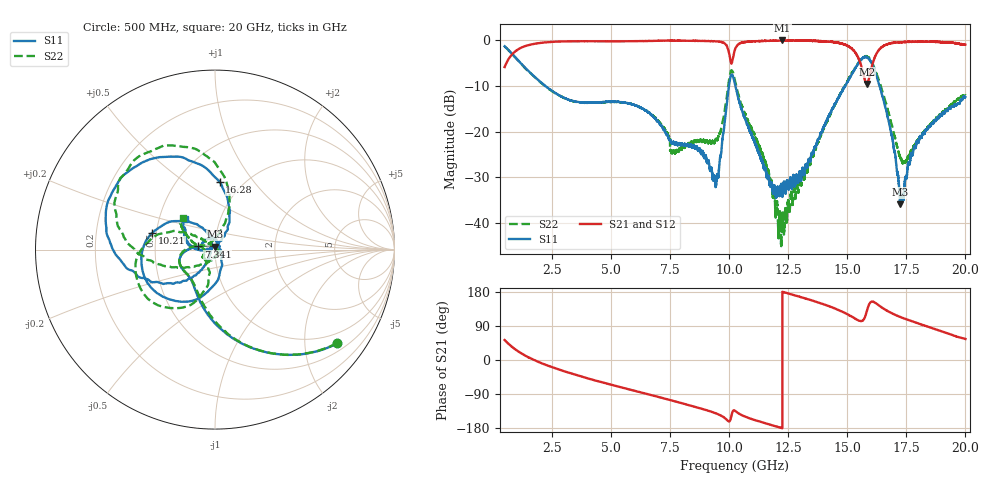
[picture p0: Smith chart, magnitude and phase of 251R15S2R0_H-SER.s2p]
!{251R15S2R0}
!Johanson Technology Inc.
!www.johansontechnology.com
!Test Board Conditions:
!Substrate Type  RO4350B
!Substrate Thickness  20 mil
!Substrate Dk  3.66
!TL Type: GCPW
!TL Trace Width  34 mil
!TL Gap  10 mil
!Electrode orientation  Horizontal
!DUT TOPOLOGY	SERIES
!Mounting Pad LxW  26x52 mil
! Created Thu Mar 12 16:37:39 2020
# mhz S ma R 50
! 2 Port Network Data from SP1.SP block
! freq  magS11  angS11  magS21  angS21  magS12  angS12  magS22  angS22
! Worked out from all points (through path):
!   19501 points, 500 MHz to 20 GHz, reference 50 ohm
!   highest |S21| = -0.05 dB at 12.25 GHz (marker M1); lowest = -9.6 dB at 15.83 GHz (marker M2)
!   group delay of S21, straight-line fit = 45 ps
!   lowest |S11| = -35.9 dB at 17.25 GHz (marker M3), VSWR 1.03, Z = 49.9 + j1.6 ohm
!   |S11| at or under -10 dB: 2.228 GHz to 9.994 GHz (7.765 GHz wide, 127 % of centre); 10.26 GHz to 14.92 GHz (4.654 GHz wide, 37 % of centre); 16.36 GHz to end of sweep (the widest 3 of 5)
!   |S22| runs from -45.0 to -1.3 dB; largest |S21 - S12| = 0.017
!   S11 on the Smith chart (normalised r, x): 500 MHz: 0.70, -2.79; 7.341 GHz: 0.83, +0.03; 10.21 GHz: 0.47, +0.10; 16.28 GHz: 0.79, +0.69; 20 GHz: 0.68, +0.25
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500  0.8589 -37.5  0.509 52.7  0.5106 52.7  0.8566 -37.6
1714  0.4107 -90.1  0.9086 1.0  0.9094 1.0  0.4085 -88.8
3750  0.2087 -132.9  0.9745 -43.7  0.9755 -43.7  0.2078 -132.8
7000  0.1292 175.1  0.9875 -97.4  0.9878 -97.4  0.1321 173.2
7341  0.09382 169.2  0.9905 -102.9  0.9922 -103.0  0.0992 168.3
7640  0.07724 143.6  0.9896 -107.9  0.9888 -108.0  0.06122 -175.6
8694  0.06207 95.1  0.9822 -126.0  0.9822 -126.0  0.08005 -146.9
9464  0.02986 0.1  0.9698 -141.2  0.9715 -141.4  0.08251 -123.0
9999  0.3231 -116.6  0.7216 -162.2  0.7235 -162.0  0.3683 -118.7
10213  0.362 165.2  0.7334 -133.0  0.7342 -133.0  0.3983 177.7
10250  0.326 156.3  0.793 -134.0  0.7934 -134.2  0.3603 170.5
10704  0.1327 119.3  0.9568 -150.2  0.9561 -150.4  0.1494 147.3
11794  0.02762 133.2  0.9864 -171.8  0.9859 -171.7  0.02833 121.3
12252  0.02136 178.5  0.9945 -179.9  0.9924 -179.8  0.01183 25.9
13500  0.05801 -127.1  0.9837 157.2  0.9872 157.3  0.05388 -98.8
15168  0.4115 -156.5  0.8208 115.5  0.8208 114.7  0.4216 -176.4
15831  0.6543 139.9  0.3319 129.0  0.3343 128.7  0.6637 127.0
16279  0.3764 86.1  0.7444 146.9  0.7468 147.0  0.4034 82.2
16750  0.1332 57.5  0.9166 127.8  0.9123 127.9  0.1607 69.2
17252  0.01608 92.1  0.9546 113.5  0.9532 113.4  0.05141 101.8
18021  0.07733 -178.6  0.9673 96.3  0.9612 95.6  0.08259 164.5
20000  0.2399 134.5  0.895 55.5  0.8939 55.5  0.251 135.9
